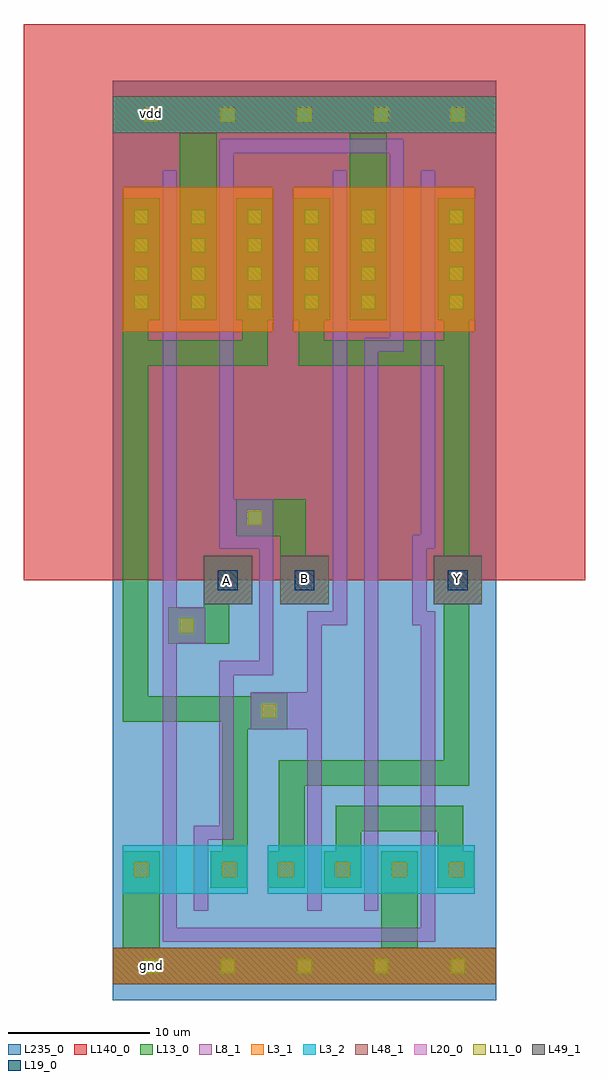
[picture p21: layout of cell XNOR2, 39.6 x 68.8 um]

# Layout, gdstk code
import gdstk
lib = gdstk.Library(unit=1e-6, precision=1e-09)
def R(c, l, rs):  # rectangles x0, y0, x1, y1
    for r in rs: c.add(gdstk.rectangle(r[:2], r[2:], *l))
def A(c, l, x, y, w, h, nx, ny, dx, dy):  # array of equal rectangles
    R(c, l, [(x+i*dx, y+j*dy, x+i*dx+w, y+j*dy+h) for i in range(nx) for j in range(ny)])
def P(c, l, *ps):  # polygons
    for p in ps: c.add(gdstk.Polygon(p, *l))
L3_1 = (3, 1)
L3_2 = (3, 2)
L8_1 = (8, 1)
L11_0 = (11, 0)
L13_0 = (13, 0)
L19_0 = (19, 0)
L20_0 = (20, 0)
L48_1 = (48, 1)
L49_1 = (49, 1)
L140_0 = (140, 0)
L235_0 = (235, 0)

xnor2 = lib.new_cell('XNOR2')
R(xnor2, L3_1, [(0,1.1,27,3.7), (0.7,47.1,11.3,57.3), (12.7,47.1,16.7,57.3), (16.7,47.1,25.5,57.3)])
R(xnor2, L3_2, [(0.7,7.5,9.5,10.9), (10.9,7.5,14.9,10.9), (14.9,7.5,25.5,10.9), (0,61.1,27,63.7)])
P(xnor2, L8_1, [(13.7,6.3),(13.7,19.1),(9.7,19.1),(9.7,21.7),(13.7,21.7),(13.7,27.4),(15.5,27.4),(15.5,58.5),(16.5,58.5),(16.5,26.4),(14.7,26.4),(14.7,6.3)],
  [(3.5,4.1),(3.5,58.5),(4.5,58.5),(4.5,27.7),(6.5,27.7),(6.5,25.1),(4.5,25.1),(4.5,5.1),(21.7,5.1),(21.7,26.4),(21.1,26.4),(21.1,32.8),(21.7,32.8),(21.7,58.5),(22.7,58.5),(22.7,31.8),(22.1,31.8),(22.1,27.4),(22.7,27.4),(22.7,4.1)],
  [(5.7,6.3),(5.7,12.3),(7.5,12.3),(7.5,23.9),(10.3,23.9),(10.3,31.8),(7.5,31.8),(7.5,60.7),(20.5,60.7),(20.5,45.7),(18.7,45.7),(18.7,6.3),(17.7,6.3),(17.7,46.7),(19.5,46.7),(19.5,59.7),(8.5,59.7),(8.5,35.3),(11.3,35.3),(11.3,22.9),(8.5,22.9),(8.5,11.3),(6.7,11.3),(6.7,6.3)])
A(xnor2, L11_0, 2.2, 1.9, 1, 1, 5, 2, 5.4, 60)
A(xnor2, L11_0, 7.7, 8.7, 1, 1, 5, 1, 4, 0)
A(xnor2, L11_0, 1.5, 48.7, 1, 1, 5, 4, 4, 2)
A(xnor2, L11_0, 23.7, 48.7, 1, 1, 1, 4, 0, 2)
R(xnor2, L11_0, [(1.5,8.7,2.5,9.7), (7.7,8.7,8.7,9.7), (10.5,19.9,11.5,20.9), (4.7,25.9,5.7,26.9), (9.5,33.5,10.5,34.5)])
R(xnor2, L13_0, [(0,1.1,27,3.7), (0.7,3.7,3.3,10.5), (18.9,3.7,21.5,10.5), (4.7,47.9,7.3,61.1), (16.7,47.9,19.3,61.1), (0,61.1,27,63.7)])
P(xnor2, L13_0, [(14.9,7.9),(14.9,10.5),(15.7,10.5),(15.7,13.7),(24.7,13.7),(24.7,10.5),(25.5,10.5),(25.5,7.9),(22.9,7.9),(22.9,11.9),(17.5,11.9),(17.5,7.9)],
  [(3.9,25.1),(3.9,27.7),(6.4,27.7),(6.4,31.3),(9.8,31.3),(9.8,27.9),(8.2,27.9),(8.2,25.1)],
  [(11.8,27.9),(11.8,32.7),(8.7,32.7),(8.7,35.3),(13.6,35.3),(13.6,31.3),(15.2,31.3),(15.2,27.9)],
  [(6.9,7.9),(6.9,10.5),(7.7,10.5),(7.7,19.6),(0.7,19.6),(0.7,56.5),(3.3,56.5),(3.3,47.9),(2.5,47.9),(2.5,46.5),(9.1,46.5),(9.1,47.9),(8.7,47.9),(8.7,56.5),(11.3,56.5),(11.3,47.9),(10.9,47.9),(10.9,44.7),(2.5,44.7),(2.5,21.4),(9.7,21.4),(9.7,21.7),(12.3,21.7),(12.3,19.1),(9.5,19.1),(9.5,7.9)],
  [(10.9,7.9),(10.9,10.5),(11.7,10.5),(11.7,16.9),(23.3,16.9),(23.3,27.9),(22.6,27.9),(22.6,31.3),(23.3,31.3),(23.3,47.9),(25.1,47.9),(25.1,31.3),(26,31.3),(26,27.9),(25.1,27.9),(25.1,15.1),(13.5,15.1),(13.5,7.9)],
  [(13.1,44.7),(13.1,47.9),(12.7,47.9),(12.7,56.5),(15.3,56.5),(15.3,47.9),(14.9,47.9),(14.9,46.5),(23.3,46.5),(23.3,47.9),(22.9,47.9),(22.9,56.5),(25.5,56.5),(25.5,47.9),(25.1,47.9),(25.1,44.7)])
R(xnor2, L19_0, [(7.4,28.9,8.8,30.3), (7.4,28.9,8.8,30.3), (7.4,28.9,8.8,30.3), (12.8,28.9,14.2,30.3), (12.8,28.9,14.2,30.3), (12.8,28.9,14.2,30.3), (12.8,28.9,14.2,30.3), (23.6,28.9,25,30.3), (23.6,28.9,25,30.3), (23.6,28.9,25,30.3), (23.6,28.9,25,30.3)])
R(xnor2, L20_0, [(6.4,27.9,9.8,31.3), (6.4,27.9,9.8,31.3), (6.4,27.9,9.8,31.3), (11.8,27.9,15.2,31.3), (11.8,27.9,15.2,31.3), (11.8,27.9,15.2,31.3), (11.8,27.9,15.2,31.3), (22.6,27.9,26,31.3), (22.6,27.9,26,31.3), (22.6,27.9,26,31.3), (22.6,27.9,26,31.3)])
R(xnor2, L48_1, [(0,1.1,27,3.7), (0,61.1,27,63.7)])
R(xnor2, L49_1, [(6.4,27.9,9.8,31.3), (11.8,27.9,15.2,31.3), (22.6,27.9,26,31.3)])
R(xnor2, L140_0, [(-6.3,29.6,33.3,68.8)])
R(xnor2, L235_0, [(0,0,27,64.8)])
xnor2.add(gdstk.Label('A', (8,29.6), layer=49, texttype=0))
xnor2.add(gdstk.Label('B', (13.5,29.7), layer=49, texttype=0))
xnor2.add(gdstk.Label('Y', (24.3,29.7), layer=49, texttype=0))
xnor2.add(gdstk.Label('gnd', (2.7,2.4), layer=48, texttype=0))
xnor2.add(gdstk.Label('vdd', (2.7,62.5), layer=48, texttype=0))

lib.write_gds('XNOR2.gds')
